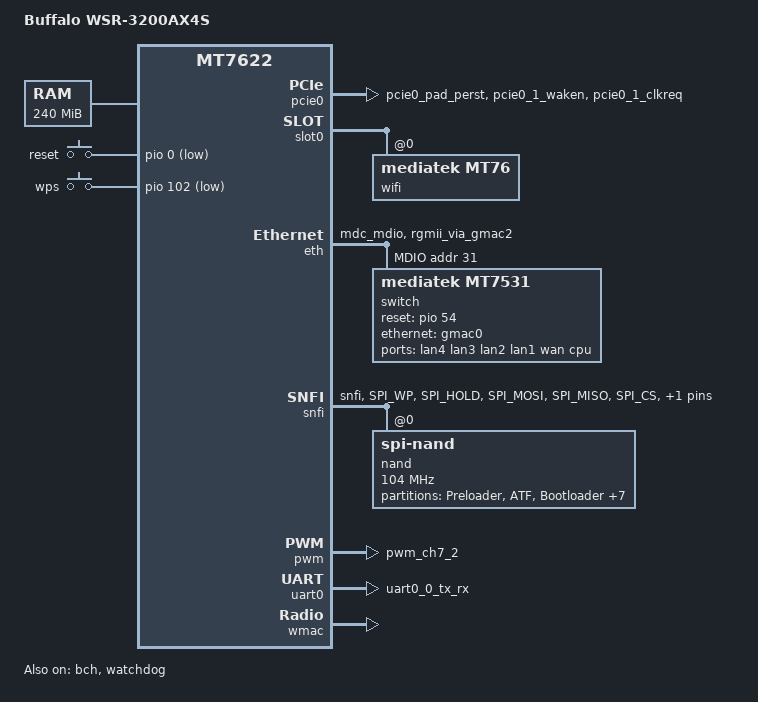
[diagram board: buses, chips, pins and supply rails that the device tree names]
// SPDX-License-Identifier: GPL-2.0-or-later OR MIT
/dts-v1/;
#include <dt-bindings/input/input.h>
#include <dt-bindings/gpio/gpio.h>

#include "mt7622.dtsi"
#include "mt6380.dtsi"

/ {
	model = "Buffalo WSR-3200AX4S";
	compatible = "buffalo,wsr-3200ax4s", "mediatek,mt7622";

	aliases {
		serial0 = &uart0;
/*		led-boot = &power_green;
		led-failsafe = &power_amber;
		led-running = &power_green;
		led-upgrade = &power_green;*/
	};

	chosen {
		bootargs = "earlycon=uart8250,mmio32,0x11002000 console=ttyS0,115200n8 swiotlb=512";
	};

	memory {
		reg = <0 0x40000000 0 0x0F000000>;
	};

/*	leds {
		compatible = "gpio-leds";

		wireless_amber {
			label = "wsr-3200ax4s:amber:wireless";
			gpios = <&pio 2 GPIO_ACTIVE_HIGH>;
		};

		power_amber: power_amber {
			label = "wsr-3200ax4s:amber:power";
			gpios = <&pio 3 GPIO_ACTIVE_LOW>;
		};

		power_green: power_green {
			label = "wsr-3200ax4s:green:power";
			gpios = <&pio 4 GPIO_ACTIVE_LOW>;
			default-state = "on";
		};

		wireless_green {
			label = "wsr-3200ax4s:green:wireless";
			gpios = <&pio 15 GPIO_ACTIVE_HIGH>;
		};

		internet {
			label = "wsr-3200ax4s:green:internet";
			gpios = <&pio 19 GPIO_ACTIVE_HIGH>;
		};

		router {
			label = "wsr-3200ax4s:green:router";
			gpios = <&pio 20 GPIO_ACTIVE_HIGH>;
		};
	};*/

	keys {
		compatible = "gpio-keys";

		reset {
			label = "reset";
			gpios = <&pio 0 GPIO_ACTIVE_LOW>;
			linux,code = <KEY_RESTART>;
		};

/*		router {
			label = "router";
			gpios = <&pio 1 GPIO_ACTIVE_LOW>;
			linux,code = <BTN_0>;
			linux,input-type = <EV_SW>;
		};

		bridge {
			label = "wb";
			gpios = <&pio 16 GPIO_ACTIVE_LOW>;
			linux,code = <BTN_0>;
			linux,input-type = <EV_SW>;
		};

		manual {
			label = "manual";
			gpios = <&pio 18 GPIO_ACTIVE_LOW>;
			linux,code = <BTN_1>;
			linux,input-type = <EV_SW>;
		};
*/
		wps {
			label = "wps";
			gpios = <&pio 102 GPIO_ACTIVE_LOW>;
			linux,code = <KEY_WPS_BUTTON>;
		};
	};
};

&cpu0 {
	proc-supply = <&mt6380_vcpu_reg>;
	sram-supply = <&mt6380_vm_reg>;
};

&cpu1 {
	proc-supply = <&mt6380_vcpu_reg>;
	sram-supply = <&mt6380_vm_reg>;
};

&pcie0 {
	pinctrl-names = "default";
	pinctrl-0 = <&pcie0_pins>;
	status = "okay";
};

&slot0 {
	status = "okay";

	wifi@0,0 {
		compatible = "mediatek,mt76";
		reg = <0x0000 0 0 0 0>;
		mediatek,mtd-eeprom = <&factory 0x5000>;
		ieee80211-freq-limit = <5000000 6000000>;
	};
};

&pio {
	eth_pins: eth-pins {
		mux {
			function = "eth";
			groups = "mdc_mdio", "rgmii_via_gmac2";
		};
	};

	/* Serial NAND is shared pin with SPI-NOR */
	serial_nand_pins: serial-nand-pins {
		mux {
			function = "flash";
			groups = "snfi";
		};

		conf-cmd-dat {
			pins = "SPI_WP", "SPI_HOLD", "SPI_MOSI",
			       "SPI_MISO", "SPI_CS";
			input-enable;
			drive-strength = <16>;
			bias-pull-up;
		};

		conf-clk {
			pins = "SPI_CLK";
			drive-strength = <16>;
			bias-pull-down;
		};
	};

	pcie0_pins: pcie0-pins {
		mux {
			function = "pcie";
			groups = "pcie0_pad_perst",
				 "pcie0_1_waken",
				 "pcie0_1_clkreq";
		};
	};

	pmic_bus_pins: pmic-bus-pins {
		mux {
			function = "pmic";
			groups = "pmic_bus";
		};
	};

	pwm7_pins: pwm1-2-pins {
		mux {
			function = "pwm";
			groups = "pwm_ch7_2";
		};
	};

	uart0_pins: uart0-pins {
		mux {
			function = "uart";
			groups = "uart0_0_tx_rx" ;
		};
	};

	watchdog_pins: watchdog-pins {
		mux {
			function = "watchdog";
			groups = "watchdog";
		};
	};
};

&eth {
	status = "okay";
	pinctrl-names = "default";
	pinctrl-0 = <&eth_pins>;

	gmac0: mac@0 {
		compatible = "mediatek,eth-mac";
		reg = <0>;
		phy-connection-type = "2500base-x";

		fixed-link {
			speed = <2500>;
			full-duplex;
			pause;
		};
	};

	mdio: mdio-bus {
		#address-cells = <1>;
		#size-cells = <0>;

		switch@1f {
			compatible = "mediatek,mt7531";
			reg = <0x1f>;
			reset-gpios = <&pio 54 0>;

			ports {
				#address-cells = <1>;
				#size-cells = <0>;

				port@0 {
					reg = <0>;
					label = "lan4";
				};

				port@1 {
					reg = <1>;
					label = "lan3";
				};

				port@2 {
					reg = <2>;
					label = "lan2";
				};

				port@3 {
					reg = <3>;
					label = "lan1";
				};

				port@4 {
					reg = <4>;
					label = "wan";
				};

				port@6 {
					reg = <6>;
					label = "cpu";
					ethernet = <&gmac0>;
					phy-connection-type = "2500base-x";

					fixed-link {
						speed = <2500>;
						full-duplex;
						pause;
					};
				};
			};
		};
	};
};

&bch {
	status = "okay";
};

&snfi {
	pinctrl-names = "default";
	pinctrl-0 = <&serial_nand_pins>;
	status = "okay";

	nand@0 {
		compatible = "spi-nand";
		reg = <0>;
		spi-max-frequency = <104000000>;

		partitions {
			compatible = "fixed-partitions";
			#address-cells = <1>;
			#size-cells = <1>;

			partition@0 {
				label = "Preloader";
				reg = <0x0 0x80000>;
				read-only;
			};

			partition@80000 {
				label = "ATF";
				reg = <0x80000 0x40000>;
				read-only;
			};

			partition@c0000 {
				label = "Bootloader";
				reg = <0xc0000 0x80000>;
				read-only;
			};

			partition@140000 {
				label = "Config";
				reg = <0x140000 0x80000>;
				read-only;
			};

			factory: partition@1c0000 {
				label = "factory";
				reg = <0x1c0000 0x100000>;
				read-only;
			};

			partition@2c0000 {
				compatible = "brcm,trx";
				trx-magic = <0x33504844>;
				label = "firmware";
				reg = <0x2c0000 0x1800000>;
			};

			partition@1ac0000 {
				label = "Kernel2";
				reg = <0x1ac0000 0x1800000>;
			};

			partition@32c0000 {
				label = "glbcfg";
				reg = <0x32c0000 0x200000>;
				read-only;
			};

			partition@34c0000 {
				label = "board_data";
				reg = <0x34c0000 0x200000>;
				read-only;
			};

			partition@36c0000 {
				label = "WTB";
				reg = <0x36c0000 0x3600000>;
				read-only;
			};
		};
	};
};

&pwm {
	pinctrl-names = "default";
	pinctrl-0 = <&pwm7_pins>;
	status = "okay";
};

&pwrap {
	pinctrl-names = "default";
	pinctrl-0 = <&pmic_bus_pins>;
	status = "okay";
};

&uart0 {
	pinctrl-names = "default";
	pinctrl-0 = <&uart0_pins>;
	status = "okay";
};

&watchdog {
	pinctrl-names = "default";
	pinctrl-0 = <&watchdog_pins>;
	status = "okay";
};

&wmac {
	status = "okay";

	mediatek,mtd-eeprom = <&factory 0x0>;
};

&rtc {
	status = "disabled";
};
